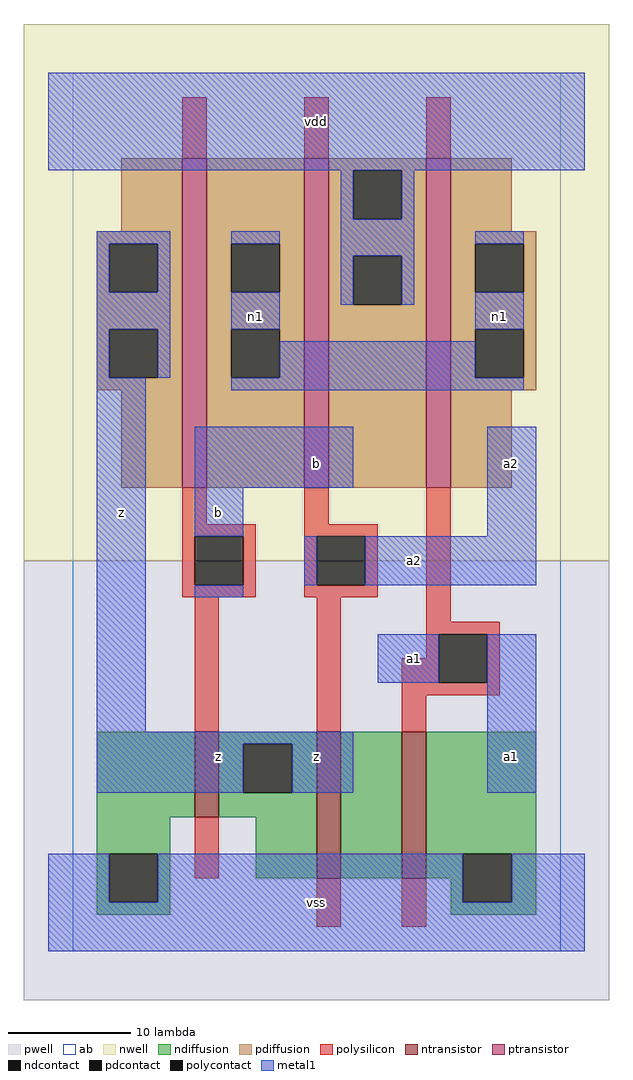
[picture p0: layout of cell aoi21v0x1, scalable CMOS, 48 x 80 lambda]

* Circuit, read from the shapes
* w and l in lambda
.subckt aoi21v0x1 a1 a2 b n1 vdd vss z
M1 z b vss VSUBS nfet w=7 l=2
M2 n2 a2 z VSUBS nfet w=12 l=2
M3 vss a1 n2 VSUBS nfet w=12 l=2
M4 n1 b z n3 pfet w=27 l=2
M5 vdd a2 n1 n3 pfet w=27 l=2
M6 n1 a1 vdd n3 pfet w=27 l=2
.ends

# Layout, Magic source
magic
tech scmos
<< ab >>
rect 0 0 40 72
<< pwell >>
rect -4 -4 44 32
<< nwell >>
rect -4 32 44 76
<< polysilicon >>
rect 9 65 11 70
rect 19 65 21 70
rect 29 65 31 70
rect 9 35 11 38
rect 19 35 21 38
rect 9 34 15 35
rect 9 30 10 34
rect 14 30 15 34
rect 9 29 15 30
rect 19 34 25 35
rect 19 30 20 34
rect 24 30 25 34
rect 19 29 25 30
rect 10 18 12 29
rect 20 18 22 29
rect 29 27 31 38
rect 29 26 35 27
rect 29 24 30 26
rect 27 22 30 24
rect 34 22 35 26
rect 27 21 35 22
rect 27 18 29 21
rect 10 6 12 11
rect 20 2 22 6
rect 27 2 29 6
<< ndiffusion >>
rect 2 11 10 18
rect 12 17 20 18
rect 12 13 14 17
rect 18 13 20 17
rect 12 11 20 13
rect 2 8 8 11
rect 2 4 3 8
rect 7 4 8 8
rect 15 6 20 11
rect 22 6 27 18
rect 29 8 38 18
rect 29 6 32 8
rect 2 3 8 4
rect 31 4 32 6
rect 36 4 38 8
rect 31 3 38 4
<< pdiffusion >>
rect 4 59 9 65
rect 2 58 9 59
rect 2 54 3 58
rect 7 54 9 58
rect 2 51 9 54
rect 2 47 3 51
rect 7 47 9 51
rect 2 46 9 47
rect 4 38 9 46
rect 11 58 19 65
rect 11 54 13 58
rect 17 54 19 58
rect 11 51 19 54
rect 11 47 13 51
rect 17 47 19 51
rect 11 38 19 47
rect 21 64 29 65
rect 21 60 23 64
rect 27 60 29 64
rect 21 57 29 60
rect 21 53 23 57
rect 27 53 29 57
rect 21 38 29 53
rect 31 59 36 65
rect 31 58 38 59
rect 31 54 33 58
rect 37 54 38 58
rect 31 51 38 54
rect 31 47 33 51
rect 37 47 38 51
rect 31 46 38 47
rect 31 38 36 46
<< metal1 >>
rect -2 64 42 72
rect 22 60 23 64
rect 27 60 28 64
rect 2 58 8 59
rect 2 54 3 58
rect 7 54 8 58
rect 2 51 8 54
rect 2 47 3 51
rect 7 47 8 51
rect 13 58 17 59
rect 13 51 17 54
rect 22 57 28 60
rect 22 53 23 57
rect 27 53 28 57
rect 33 58 37 59
rect 33 51 37 54
rect 17 47 33 50
rect 2 18 6 47
rect 13 46 37 47
rect 10 38 23 43
rect 10 34 14 38
rect 34 34 38 43
rect 19 30 20 34
rect 24 30 38 34
rect 10 29 14 30
rect 25 22 30 26
rect 2 17 23 18
rect 2 13 14 17
rect 18 13 23 17
rect 34 13 38 26
rect -2 4 3 8
rect 7 4 32 8
rect 36 4 42 8
rect -2 0 42 4
<< ntransistor >>
rect 10 11 12 18
rect 20 6 22 18
rect 27 6 29 18
<< ptransistor >>
rect 9 38 11 65
rect 19 38 21 65
rect 29 38 31 65
<< polycontact >>
rect 10 30 14 34
rect 20 30 24 34
rect 30 22 34 26
<< ndcontact >>
rect 14 13 18 17
rect 3 4 7 8
rect 32 4 36 8
<< pdcontact >>
rect 3 54 7 58
rect 3 47 7 51
rect 13 54 17 58
rect 13 47 17 51
rect 23 60 27 64
rect 23 53 27 57
rect 33 54 37 58
rect 33 47 37 51
<< labels >>
rlabel metal1 4 36 4 36 6 z
rlabel metal1 12 16 12 16 6 z
rlabel metal1 12 36 12 36 6 b
rlabel metal1 15 52 15 52 6 n1
rlabel metal1 20 4 20 4 6 vss
rlabel metal1 20 16 20 16 6 z
rlabel metal1 28 32 28 32 6 a2
rlabel metal1 28 24 28 24 6 a1
rlabel metal1 20 40 20 40 6 b
rlabel metal1 20 68 20 68 6 vdd
rlabel metal1 36 16 36 16 6 a1
rlabel metal1 36 40 36 40 6 a2
rlabel metal1 35 52 35 52 6 n1
<< end >>
